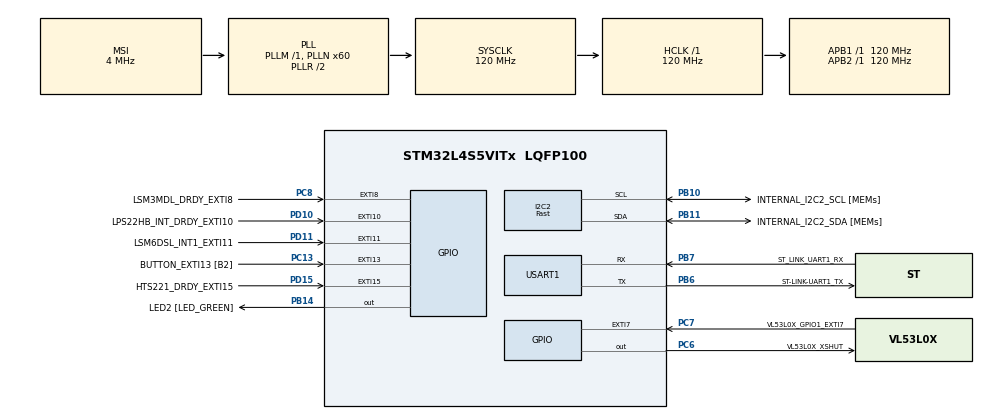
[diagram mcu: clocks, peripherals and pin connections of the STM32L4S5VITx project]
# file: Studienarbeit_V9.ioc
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Dma.I2C2_RX.0.Direction=DMA_PERIPH_TO_MEMORY
Dma.I2C2_RX.0.EventEnable=DISABLE
Dma.I2C2_RX.0.Instance=DMA1_Channel1
Dma.I2C2_RX.0.MemDataAlignment=DMA_MDATAALIGN_BYTE
Dma.I2C2_RX.0.MemInc=DMA_MINC_ENABLE
Dma.I2C2_RX.0.Mode=DMA_NORMAL
Dma.I2C2_RX.0.PeriphDataAlignment=DMA_PDATAALIGN_BYTE
Dma.I2C2_RX.0.PeriphInc=DMA_PINC_DISABLE
Dma.I2C2_RX.0.Polarity=HAL_DMAMUX_REQUEST_GEN_RISING
Dma.I2C2_RX.0.Priority=DMA_PRIORITY_LOW
Dma.I2C2_RX.0.RequestNumber=1
Dma.I2C2_RX.0.SignalID=NONE
Dma.I2C2_RX.0.SyncEnable=DISABLE
Dma.I2C2_RX.0.SyncPolarity=HAL_DMAMUX_SYNC_NO_EVENT
Dma.I2C2_RX.0.SyncRequestNumber=1
Dma.I2C2_RX.0.SyncSignalID=NONE
Dma.I2C2_TX.1.Direction=DMA_MEMORY_TO_PERIPH
Dma.I2C2_TX.1.EventEnable=DISABLE
Dma.I2C2_TX.1.Instance=DMA1_Channel2
Dma.I2C2_TX.1.MemDataAlignment=DMA_MDATAALIGN_BYTE
Dma.I2C2_TX.1.MemInc=DMA_MINC_ENABLE
Dma.I2C2_TX.1.Mode=DMA_NORMAL
Dma.I2C2_TX.1.PeriphDataAlignment=DMA_PDATAALIGN_BYTE
Dma.I2C2_TX.1.PeriphInc=DMA_PINC_DISABLE
Dma.I2C2_TX.1.Polarity=HAL_DMAMUX_REQUEST_GEN_RISING
Dma.I2C2_TX.1.Priority=DMA_PRIORITY_LOW
Dma.I2C2_TX.1.RequestNumber=1
Dma.I2C2_TX.1.SignalID=NONE
Dma.I2C2_TX.1.SyncEnable=DISABLE
Dma.I2C2_TX.1.SyncPolarity=HAL_DMAMUX_SYNC_NO_EVENT
Dma.I2C2_TX.1.SyncRequestNumber=1
Dma.I2C2_TX.1.SyncSignalID=NONE
Dma.Request0=I2C2_RX
Dma.Request1=I2C2_TX
Dma.Request2=USART1_RX
Dma.Request3=USART1_TX
Dma.USART1_RX.2.Direction=DMA_PERIPH_TO_MEMORY
Dma.USART1_RX.2.EventEnable=DISABLE
Dma.USART1_RX.2.Instance=DMA1_Channel3
Dma.USART1_RX.2.MemDataAlignment=DMA_MDATAALIGN_BYTE
Dma.USART1_RX.2.MemInc=DMA_MINC_ENABLE
Dma.USART1_RX.2.Mode=DMA_NORMAL
Dma.USART1_RX.2.PeriphDataAlignment=DMA_PDATAALIGN_BYTE
Dma.USART1_RX.2.PeriphInc=DMA_PINC_DISABLE
Dma.USART1_RX.2.Polarity=HAL_DMAMUX_REQUEST_GEN_RISING
Dma.USART1_RX.2.Priority=DMA_PRIORITY_LOW
Dma.USART1_RX.2.RequestNumber=1
Dma.USART1_RX.2.SignalID=NONE
Dma.USART1_RX.2.SyncEnable=DISABLE
Dma.USART1_RX.2.SyncPolarity=HAL_DMAMUX_SYNC_NO_EVENT
Dma.USART1_RX.2.SyncRequestNumber=1
Dma.USART1_RX.2.SyncSignalID=NONE
Dma.USART1_TX.3.Direction=DMA_MEMORY_TO_PERIPH
Dma.USART1_TX.3.EventEnable=DISABLE
Dma.USART1_TX.3.Instance=DMA1_Channel4
Dma.USART1_TX.3.MemDataAlignment=DMA_MDATAALIGN_BYTE
Dma.USART1_TX.3.MemInc=DMA_MINC_ENABLE
Dma.USART1_TX.3.Mode=DMA_NORMAL
Dma.USART1_TX.3.PeriphDataAlignment=DMA_PDATAALIGN_BYTE
Dma.USART1_TX.3.PeriphInc=DMA_PINC_DISABLE
Dma.USART1_TX.3.Polarity=HAL_DMAMUX_REQUEST_GEN_RISING
Dma.USART1_TX.3.Priority=DMA_PRIORITY_LOW
Dma.USART1_TX.3.RequestNumber=1
Dma.USART1_TX.3.SignalID=NONE
Dma.USART1_TX.3.SyncEnable=DISABLE
Dma.USART1_TX.3.SyncPolarity=HAL_DMAMUX_SYNC_NO_EVENT
Dma.USART1_TX.3.SyncRequestNumber=1
Dma.USART1_TX.3.SyncSignalID=NONE
FREERTOS.BinarySemaphores01=I2C2available,Dynamic,NULL,Available
FREERTOS.Tasks01=defaultTask,24,128,StartDefaultTask,Default,NULL,Dynamic,NULL,NULL;IMUTask,33,256,IMU_Task,Default,NULL,Dynamic,NULL,NULL;MagnetoTask,26,256,Magneto_Task,Default,NULL,Dynamic,NULL,NULL;ToFTask,25,256,ToF_Task,Default,NULL,Dynamic,NULL,NULL;BaroTask,17,256,Baro_Task,Default,NULL,Dynamic,NULL,NULL;HumidityTask,17,256,Humidity_Task,Default,NULL,Dynamic,NULL,NULL;InitTask,34,512,Init_Task,Default,NULL,Dynamic,NULL,NULL;DataTransTask,15,128,Data_Transmit_Task,Default,NULL,Dynamic,NULL,NULL
FREERTOS.configENABLE_FPU=1
FREERTOS.configGENERATE_RUN_TIME_STATS=1
FREERTOS.configTOTAL_HEAP_SIZE=8000
FREERTOS.configUSE_NEWLIB_REENTRANT=1
FREERTOS.configUSE_STATS_FORMATTING_FUNCTIONS=1
I2C2.I2C_Speed_Mode=I2C_Fast
I2C2.Timing=0x10B21F61
Mcu.Family=STM32L4
Mcu.Name=STM32L4S5VITx
Mcu.Package=LQFP100
NVIC.DMA1_Channel1_IRQn=true\:7\:0\:true\:false\:true\:true\:false\:true\:true
NVIC.DMA1_Channel2_IRQn=true\:8\:0\:true\:false\:true\:true\:false\:true\:true
NVIC.DMA1_Channel3_IRQn=true\:5\:0\:false\:false\:true\:true\:false\:true\:true
NVIC.DMA1_Channel4_IRQn=true\:5\:0\:false\:false\:true\:true\:false\:true\:true
NVIC.EXTI15_10_IRQn=true\:10\:0\:true\:false\:true\:true\:true\:true\:false
NVIC.EXTI9_5_IRQn=true\:10\:0\:true\:false\:true\:true\:true\:true\:false
NVIC.I2C2_EV_IRQn=true\:6\:0\:true\:false\:true\:true\:true\:true\:true
NVIC.PriorityGroup=NVIC_PRIORITYGROUP_4
NVIC.TIM1_TRG_COM_TIM17_IRQn=true\:15\:0\:false\:false\:true\:false\:false\:true\:true
NVIC.TimeBase=TIM1_TRG_COM_TIM17_IRQn
NVIC.TimeBaseIP=TIM17
PA13\ (JTMS/SWDIO).GPIO_Label=SYS_JTMS_SWDIO
PA13\ (JTMS/SWDIO).Mode=Serial_Wire
PA13\ (JTMS/SWDIO).Signal=SYS_JTMS-SWDIO
PA14\ (JTCK/SWCLK).GPIO_Label=SYS_JTCK_SWCLK
PA14\ (JTCK/SWCLK).Mode=Serial_Wire
PA14\ (JTCK/SWCLK).Signal=SYS_JTCK-SWCLK
PB10.GPIO_Label=INTERNAL_I2C2_SCL [MEMs]
PB10.GPIO_Mode=GPIO_MODE_AF_OD
PB10.GPIO_Pu=GPIO_PULLUP
PB10.GPIO_Speed=GPIO_SPEED_FREQ_VERY_HIGH
PB10.Mode=I2C
PB10.Signal=I2C2_SCL
PB11.GPIO_Label=INTERNAL_I2C2_SDA [MEMs]
PB11.GPIO_Mode=GPIO_MODE_AF_OD
PB11.GPIO_Pu=GPIO_PULLUP
PB11.GPIO_Speed=GPIO_SPEED_FREQ_VERY_HIGH
PB11.Mode=I2C
PB11.Signal=I2C2_SDA
PB14.GPIO_Label=LED2 [LED_GREEN]
PB14.GPIO_ModeDefaultOutputPP=GPIO_MODE_OUTPUT_PP
PB14.GPIO_PuPd=GPIO_NOPULL
PB14.GPIO_Speed=GPIO_SPEED_FREQ_LOW
PB14.PinState=GPIO_PIN_RESET
PB14.Signal=GPIO_Output
PB3\ (JTDO/TRACESWO).GPIO_Label=SYS_JTD0_SWO
PB3\ (JTDO/TRACESWO).Signal=SYS_JTDO-SWO
PB6.GPIO_FM6=__NULL
PB6.GPIO_Label=ST-LINK-UART1_TX
PB6.GPIO_ModeDefaultPP=GPIO_MODE_AF_PP
PB6.GPIO_PuPd=GPIO_NOPULL
PB6.GPIO_Speed=GPIO_SPEED_FREQ_VERY_HIGH
PB6.Mode=Asynchronous
PB6.Signal=USART1_TX
PB7.GPIO_FM7=__NULL
PB7.GPIO_Label=ST_LINK_UART1_RX
PB7.GPIO_ModeDefaultPP=GPIO_MODE_AF_PP
PB7.GPIO_PuPd=GPIO_NOPULL
PB7.GPIO_Speed=GPIO_SPEED_FREQ_VERY_HIGH
PB7.Mode=Asynchronous
PB7.Signal=USART1_RX
PC13.GPIO_Label=BUTTON_EXTI13 [B2]
PC13.GPIO_ModeDefaultEXTI=GPIO_MODE_IT_RISING
PC13.GPIO_PuPd=GPIO_NOPULL
PC13.Signal=GPXTI13
PC14-OSC32_IN\ (PC14).Mode=LSE-External-Oscillator
PC14-OSC32_IN\ (PC14).Signal=RCC_OSC32_IN
PC15-OSC32_OUT\ (PC15).Mode=LSE-External-Oscillator
PC15-OSC32_OUT\ (PC15).Signal=RCC_OSC32_OUT
PC6.GPIO_Label=VL53L0X_XSHUT
PC6.GPIO_ModeDefaultOutputPP=GPIO_MODE_OUTPUT_PP
PC6.GPIO_PuPd=GPIO_NOPULL
PC6.GPIO_Speed=GPIO_SPEED_FREQ_LOW
PC6.PinState=GPIO_PIN_RESET
PC6.Signal=GPIO_Output
PC7.GPIO_Label=VL53L0X_GPIO1_EXTI7
PC7.GPIO_ModeDefaultEXTI=GPIO_MODE_IT_FALLING
PC7.GPIO_PuPd=GPIO_NOPULL
PC7.Signal=GPXTI7
PC8.GPIO_Label=LSM3MDL_DRDY_EXTI8
PC8.GPIO_ModeDefaultEXTI=GPIO_MODE_IT_RISING
PC8.GPIO_PuPd=GPIO_NOPULL
PC8.Signal=GPXTI8
PD10.GPIO_Label=LPS22HB_INT_DRDY_EXTI10
PD10.GPIO_ModeDefaultEXTI=GPIO_MODE_IT_RISING
PD10.GPIO_PuPd=GPIO_NOPULL
PD10.Signal=GPXTI10
PD11.GPIO_Label=LSM6DSL_INT1_EXTI11
PD11.GPIO_ModeDefaultEXTI=GPIO_MODE_IT_RISING
PD11.GPIO_PuPd=GPIO_NOPULL
PD11.Signal=GPXTI11
PD15.GPIO_Label=HTS221_DRDY_EXTI15
PD15.GPIO_ModeDefaultEXTI=GPIO_MODE_IT_RISING
PD15.GPIO_PuPd=GPIO_NOPULL
PD15.Signal=GPXTI15
PH0-OSC_IN\ (PH0).Mode=HSE-External-Oscillator
PH0-OSC_IN\ (PH0).Signal=RCC_OSC_IN
PH1-OSC_OUT\ (PH1).Mode=HSE-External-Oscillator
PH1-OSC_OUT\ (PH1).Signal=RCC_OSC_OUT
ProjectManager.HeapSize=0x200
ProjectManager.StackSize=0x400
ProjectManager.TargetToolchain=STM32CubeIDE
RCC.ADCFreq_Value=48000000
RCC.AHBFreq_Value=120000000
RCC.APB1Freq_Value=120000000
RCC.APB1TimFreq_Value=120000000
RCC.APB2Freq_Value=120000000
RCC.APB2TimFreq_Value=120000000
RCC.CortexFreq_Value=120000000
RCC.HCLKFreq_Value=120000000
RCC.HSE_VALUE=8000000
RCC.HSI48_VALUE=48000000
RCC.HSI_VALUE=16000000
RCC.MSI_VALUE=4000000
RCC.PLLN=60
RCC.PLLSAI1N=24
RCC.SYSCLKFreq_VALUE=120000000
RCC.SYSCLKSource=RCC_SYSCLKSOURCE_PLLCLK
RCC.USBFreq_Value=48000000
RCC.VCOOutputFreq_Value=240000000
USART1.VirtualMode-Asynchronous=VM_ASYNC
VP_FREERTOS_VS_CMSIS_V2.Mode=CMSIS_V2
VP_SYS_VS_tim17.Mode=TIM17
board=B-L4S5I-IOT01A

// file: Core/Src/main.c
/* USER CODE BEGIN Header */
/**
 ******************************************************************************
 * @file           : main.c
 * @brief          : Main program body
 ******************************************************************************
 * @attention
 *
 * Copyright (c) 2023 STMicroelectronics.
 * All rights reserved.
 *
 * This software is licensed under terms that can be found in the LICENSE file
 * in the root directory of this software component.
 * If no LICENSE file comes with this software, it is provided AS-IS.
 *
 ******************************************************************************
 */
/* USER CODE END Header */
#include "main.h"
#include "cmsis_os.h"

/* USER CODE BEGIN Includes */
#include <stdbool.h>
#include <stdio.h>
#include <string.h>

#include "../Sensors/AccelerationSensor/lsm6dsl.h"
#include "../Sensors/AirPressureSensor/lps22hb.h"
#include "../Sensors/HumiditySensor/hts221.h"
#include "../Sensors/MagnetometerSensor/lis3mdl.h"
#include "../Sensors/ToFSensor/vl53l0x.h"
#include "../Filter/filter.h"
/* USER CODE END Includes */

I2C_HandleTypeDef hi2c2;
DMA_HandleTypeDef hdma_i2c2_rx;
DMA_HandleTypeDef hdma_i2c2_tx;

UART_HandleTypeDef huart1;
DMA_HandleTypeDef hdma_usart1_rx;
DMA_HandleTypeDef hdma_usart1_tx;

/* Definitions for defaultTask */
osThreadId_t defaultTaskHandle;
const osThreadAttr_t defaultTask_attributes = {
  .name = "defaultTask",
  .stack_size = 128 * 4,
  .priority = (osPriority_t) osPriorityNormal,
};
/* Definitions for IMUTask */
osThreadId_t IMUTaskHandle;
const osThreadAttr_t IMUTask_attributes = {
  .name = "IMUTask",
  .stack_size = 256 * 4,
  .priority = (osPriority_t) osPriorityAboveNormal1,
};
/* Definitions for MagnetoTask */
osThreadId_t MagnetoTaskHandle;
const osThreadAttr_t MagnetoTask_attributes = {
  .name = "MagnetoTask",
  .stack_size = 256 * 4,
  .priority = (osPriority_t) osPriorityNormal2,
};
/* Definitions for ToFTask */
osThreadId_t ToFTaskHandle;
const osThreadAttr_t ToFTask_attributes = {
  .name = "ToFTask",
  .stack_size = 256 * 4,
  .priority = (osPriority_t) osPriorityNormal1,
};
/* Definitions for BaroTask */
osThreadId_t BaroTaskHandle;
const osThreadAttr_t BaroTask_attributes = {
  .name = "BaroTask",
  .stack_size = 256 * 4,
  .priority = (osPriority_t) osPriorityBelowNormal1,
};
/* Definitions for HumidityTask */
osThreadId_t HumidityTaskHandle;
const osThreadAttr_t HumidityTask_attributes = {
  .name = "HumidityTask",
  .stack_size = 256 * 4,
  .priority = (osPriority_t) osPriorityBelowNormal1,
};
/* Definitions for InitTask */
osThreadId_t InitTaskHandle;
const osThreadAttr_t InitTask_attributes = {
  .name = "InitTask",
  .stack_size = 512 * 4,
  .priority = (osPriority_t) osPriorityAboveNormal2,
};
/* Definitions for DataTransTask */
osThreadId_t DataTransTaskHandle;
const osThreadAttr_t DataTransTask_attributes = {
  .name = "DataTransTask",
  .stack_size = 128 * 4,
  .priority = (osPriority_t) osPriorityLow7,
};
/* Definitions for I2C2available */
osSemaphoreId_t I2C2availableHandle;
const osSemaphoreAttr_t I2C2available_attributes = {
  .name = "I2C2available"
};

void SystemClock_Config(void);
static void MX_GPIO_Init(void);
static void MX_DMA_Init(void);
static void MX_I2C2_Init(void);
static void MX_USART1_UART_Init(void);
void StartDefaultTask(void *argument);
void IMU_Task(void *argument);
void Magneto_Task(void *argument);
void ToF_Task(void *argument);
void Baro_Task(void *argument);
void Humidity_Task(void *argument);
void Init_Task(void *argument);
void Data_Transmit_Task(void *argument);

int main(void)
{

  /* MCU Configuration--------------------------------------------------------*/

  /* Reset of all peripherals, Initializes the Flash interface and the Systick. */
  HAL_Init();

  /* Configure the system clock */
  SystemClock_Config();

  /* Initialize all configured peripherals */
  MX_GPIO_Init();
  MX_DMA_Init();
  MX_I2C2_Init();
  MX_USART1_UART_Init();

  /* Init scheduler */
  osKernelInitialize();

  /* Create the semaphores(s) */
  /* creation of I2C2available */
  I2C2availableHandle = osSemaphoreNew(1, 1, &I2C2available_attributes);

  /* Create the thread(s) */
  /* creation of defaultTask */
  defaultTaskHandle = osThreadNew(StartDefaultTask, NULL, &defaultTask_attributes);

  /* creation of IMUTask */
  IMUTaskHandle = osThreadNew(IMU_Task, NULL, &IMUTask_attributes);

  /* creation of MagnetoTask */
  MagnetoTaskHandle = osThreadNew(Magneto_Task, NULL, &MagnetoTask_attributes);

  /* creation of ToFTask */
  ToFTaskHandle = osThreadNew(ToF_Task, NULL, &ToFTask_attributes);

  /* creation of BaroTask */
  BaroTaskHandle = osThreadNew(Baro_Task, NULL, &BaroTask_attributes);

  /* creation of HumidityTask */
  HumidityTaskHandle = osThreadNew(Humidity_Task, NULL, &HumidityTask_attributes);

  /* creation of InitTask */
  InitTaskHandle = osThreadNew(Init_Task, NULL, &InitTask_attributes);

  /* creation of DataTransTask */
  DataTransTaskHandle = osThreadNew(Data_Transmit_Task, NULL, &DataTransTask_attributes);

  /* USER CODE BEGIN RTOS_THREADS */
  /* terminate the default Task because it just exists because of the STM23CubeIDE configuration set it mandatory - that is not needed because
   * a idle task is created by FreeRTOS anyway   */
  osThreadTerminate(defaultTaskHandle);
  /* USER CODE END RTOS_THREADS */

  /* USER CODE BEGIN RTOS_EVENTS */
  SEGGER_SYSVIEW_Conf();
  SEGGER_SYSVIEW_Start();
  SEGGER_SYSVIEW_PrintfHost("START");

  /* initialisation done -> clear interrupts in case they already are active and enable them */
  HAL_NVIC_ClearPendingIRQ(EXTI15_10_IRQn);
  HAL_NVIC_ClearPendingIRQ(EXTI9_5_IRQn);
  HAL_NVIC_EnableIRQ(EXTI9_5_IRQn);
  HAL_NVIC_EnableIRQ(EXTI15_10_IRQn);
  /* USER CODE END RTOS_EVENTS */

  /* Start scheduler */
  osKernelStart();

  /* We should never get here as control is now taken by the scheduler */

  /* Infinite loop */
	  while (1)
	  {

	  }
}

void SystemClock_Config(void)
{
  RCC_OscInitTypeDef RCC_OscInitStruct = {0};
  RCC_ClkInitTypeDef RCC_ClkInitStruct = {0};

  /** Configure the main internal regulator output voltage
  */
  if (HAL_PWREx_ControlVoltageScaling(PWR_REGULATOR_VOLTAGE_SCALE1_BOOST) != HAL_OK)
  {
    Error_Handler();
  }

  /** Initializes the RCC Oscillators according to the specified parameters
  * in the RCC_OscInitTypeDef structure.
  */
  RCC_OscInitStruct.OscillatorType = RCC_OSCILLATORTYPE_MSI;
  RCC_OscInitStruct.MSIState = RCC_MSI_ON;
  RCC_OscInitStruct.MSICalibrationValue = 0;
  RCC_OscInitStruct.MSIClockRange = RCC_MSIRANGE_6;
  RCC_OscInitStruct.PLL.PLLState = RCC_PLL_ON;
  RCC_OscInitStruct.PLL.PLLSource = RCC_PLLSOURCE_MSI;
  RCC_OscInitStruct.PLL.PLLM = 1;
  RCC_OscInitStruct.PLL.PLLN = 60;
  RCC_OscInitStruct.PLL.PLLP = RCC_PLLP_DIV2;
  RCC_OscInitStruct.PLL.PLLQ = RCC_PLLQ_DIV2;
  RCC_OscInitStruct.PLL.PLLR = RCC_PLLR_DIV2;
  if (HAL_RCC_OscConfig(&RCC_OscInitStruct) != HAL_OK)
  {
    Error_Handler();
  }

  /** Initializes the CPU, AHB and APB buses clocks
  */
  RCC_ClkInitStruct.ClockType = RCC_CLOCKTYPE_HCLK|RCC_CLOCKTYPE_SYSCLK
                              |RCC_CLOCKTYPE_PCLK1|RCC_CLOCKTYPE_PCLK2;
  RCC_ClkInitStruct.SYSCLKSource = RCC_SYSCLKSOURCE_PLLCLK;
  RCC_ClkInitStruct.AHBCLKDivider = RCC_SYSCLK_DIV1;
  RCC_ClkInitStruct.APB1CLKDivider = RCC_HCLK_DIV1;
  RCC_ClkInitStruct.APB2CLKDivider = RCC_HCLK_DIV1;

  if (HAL_RCC_ClockConfig(&RCC_ClkInitStruct, FLASH_LATENCY_5) != HAL_OK)
  {
    Error_Handler();
  }
}

static void MX_I2C2_Init(void)
{

  hi2c2.Instance = I2C2;
  hi2c2.Init.Timing = 0x10B21F61;
  hi2c2.Init.OwnAddress1 = 0;
  hi2c2.Init.AddressingMode = I2C_ADDRESSINGMODE_7BIT;
  hi2c2.Init.DualAddressMode = I2C_DUALADDRESS_DISABLE;
  hi2c2.Init.OwnAddress2 = 0;
  hi2c2.Init.OwnAddress2Masks = I2C_OA2_NOMASK;
  hi2c2.Init.GeneralCallMode = I2C_GENERALCALL_DISABLE;
  hi2c2.Init.NoStretchMode = I2C_NOSTRETCH_DISABLE;
  if (HAL_I2C_Init(&hi2c2) != HAL_OK)
  {
    Error_Handler();
  }

  /** Configure Analogue filter
  */
  if (HAL_I2CEx_ConfigAnalogFilter(&hi2c2, I2C_ANALOGFILTER_ENABLE) != HAL_OK)
  {
    Error_Handler();
  }

  /** Configure Digital filter
  */
  if (HAL_I2CEx_ConfigDigitalFilter(&hi2c2, 0) != HAL_OK)
  {
    Error_Handler();
  }

}

static void MX_USART1_UART_Init(void)
{

  huart1.Instance = USART1;
  huart1.Init.BaudRate = 115200;
  huart1.Init.WordLength = UART_WORDLENGTH_8B;
  huart1.Init.StopBits = UART_STOPBITS_1;
  huart1.Init.Parity = UART_PARITY_NONE;
  huart1.Init.Mode = UART_MODE_TX_RX;
  huart1.Init.HwFlowCtl = UART_HWCONTROL_NONE;
  huart1.Init.OverSampling = UART_OVERSAMPLING_16;
  huart1.Init.OneBitSampling = UART_ONE_BIT_SAMPLE_DISABLE;
  huart1.Init.ClockPrescaler = UART_PRESCALER_DIV1;
  huart1.AdvancedInit.AdvFeatureInit = UART_ADVFEATURE_NO_INIT;
  if (HAL_UART_Init(&huart1) != HAL_OK)
  {
    Error_Handler();
  }
  if (HAL_UARTEx_SetTxFifoThreshold(&huart1, UART_TXFIFO_THRESHOLD_1_8) != HAL_OK)
  {
    Error_Handler();
  }
  if (HAL_UARTEx_SetRxFifoThreshold(&huart1, UART_RXFIFO_THRESHOLD_1_8) != HAL_OK)
  {
    Error_Handler();
  }
  if (HAL_UARTEx_DisableFifoMode(&huart1) != HAL_OK)
  {
    Error_Handler();
  }

}

static void MX_DMA_Init(void)
{

  /* DMA controller clock enable */
  __HAL_RCC_DMAMUX1_CLK_ENABLE();
  __HAL_RCC_DMA1_CLK_ENABLE();

  /* DMA interrupt init */
  /* DMA1_Channel1_IRQn interrupt configuration */
  HAL_NVIC_SetPriority(DMA1_Channel1_IRQn, 7, 0);
  HAL_NVIC_EnableIRQ(DMA1_Channel1_IRQn);
  /* DMA1_Channel2_IRQn interrupt configuration */
  HAL_NVIC_SetPriority(DMA1_Channel2_IRQn, 8, 0);
  HAL_NVIC_EnableIRQ(DMA1_Channel2_IRQn);
  /* DMA1_Channel3_IRQn interrupt configuration */
  HAL_NVIC_SetPriority(DMA1_Channel3_IRQn, 5, 0);
  HAL_NVIC_EnableIRQ(DMA1_Channel3_IRQn);
  /* DMA1_Channel4_IRQn interrupt configuration */
  HAL_NVIC_SetPriority(DMA1_Channel4_IRQn, 5, 0);
  HAL_NVIC_EnableIRQ(DMA1_Channel4_IRQn);

}

static void MX_GPIO_Init(void)
{
  GPIO_InitTypeDef GPIO_InitStruct = {0};

  /* GPIO Ports Clock Enable */
  __HAL_RCC_GPIOC_CLK_ENABLE();
  __HAL_RCC_GPIOH_CLK_ENABLE();
  __HAL_RCC_GPIOB_CLK_ENABLE();
  __HAL_RCC_GPIOD_CLK_ENABLE();
  __HAL_RCC_GPIOA_CLK_ENABLE();

  /*Configure GPIO pin Output Level */
  HAL_GPIO_WritePin(LED2_GPIO_Port, LED2_Pin, GPIO_PIN_RESET);

  /*Configure GPIO pin Output Level */
  HAL_GPIO_WritePin(VL53L0X_XSHUT_GPIO_Port, VL53L0X_XSHUT_Pin, GPIO_PIN_RESET);

  /*Configure GPIO pins : BUTTON_EXTI13_Pin LSM3MDL_DRDY_EXTI8_Pin */
  GPIO_InitStruct.Pin = BUTTON_EXTI13_Pin|LSM3MDL_DRDY_EXTI8_Pin;
  GPIO_InitStruct.Mode = GPIO_MODE_IT_RISING;
  GPIO_InitStruct.Pull = GPIO_NOPULL;
  HAL_GPIO_Init(GPIOC, &GPIO_InitStruct);

  /*Configure GPIO pin : LED2_Pin */
  GPIO_InitStruct.Pin = LED2_Pin;
  GPIO_InitStruct.Mode = GPIO_MODE_OUTPUT_PP;
  GPIO_InitStruct.Pull = GPIO_NOPULL;
  GPIO_InitStruct.Speed = GPIO_SPEED_FREQ_LOW;
  HAL_GPIO_Init(LED2_GPIO_Port, &GPIO_InitStruct);

  /*Configure GPIO pins : LPS22HB_INT_DRDY_EXTI10_Pin LSM6DSL_INT1_EXTI11_Pin HTS221_DRDY_EXTI15_Pin */
  GPIO_InitStruct.Pin = LPS22HB_INT_DRDY_EXTI10_Pin|LSM6DSL_INT1_EXTI11_Pin|HTS221_DRDY_EXTI15_Pin;
  GPIO_InitStruct.Mode = GPIO_MODE_IT_RISING;
  GPIO_InitStruct.Pull = GPIO_NOPULL;
  HAL_GPIO_Init(GPIOD, &GPIO_InitStruct);

  /*Configure GPIO pin : VL53L0X_XSHUT_Pin */
  GPIO_InitStruct.Pin = VL53L0X_XSHUT_Pin;
  GPIO_InitStruct.Mode = GPIO_MODE_OUTPUT_PP;
  GPIO_InitStruct.Pull = GPIO_NOPULL;
  GPIO_InitStruct.Speed = GPIO_SPEED_FREQ_LOW;
  HAL_GPIO_Init(VL53L0X_XSHUT_GPIO_Port, &GPIO_InitStruct);

  /*Configure GPIO pin : VL53L0X_GPIO1_EXTI7_Pin */
  GPIO_InitStruct.Pin = VL53L0X_GPIO1_EXTI7_Pin;
  GPIO_InitStruct.Mode = GPIO_MODE_IT_FALLING;
  GPIO_InitStruct.Pull = GPIO_NOPULL;
  HAL_GPIO_Init(VL53L0X_GPIO1_EXTI7_GPIO_Port, &GPIO_InitStruct);

  /* EXTI interrupt init*/
  HAL_NVIC_SetPriority(EXTI9_5_IRQn, 10, 0);
  HAL_NVIC_SetPriority(EXTI15_10_IRQn, 10, 0);

}

void StartDefaultTask(void *argument)
{
  for(;;)
  {
    osDelay(1);
  }
}

void IMU_Task(void *argument)
{
  for(;;)
  {
    osDelay(1);
  }
}

void Magneto_Task(void *argument)
{
  for(;;)
  {
    osDelay(1);
  }
}

void ToF_Task(void *argument)
{
  /* USER CODE BEGIN ToF_Task */
  HAL_StatusTypeDef HAL_status = HAL_OK;
  /* Infinite loop */
  for(;;)
  {
	  osThreadFlagsWait(THREAD_ACTIVATE_FLAG, osFlagsWaitAll, osWaitForever);
	  osSemaphoreAcquire(I2C2availableHandle, osWaitForever);
	  HAL_status = VL53L0X_data_ready();
  }
  /* USER CODE END ToF_Task */
}

void Baro_Task(void *argument)
{
  /* USER CODE BEGIN Baro_Task */
  HAL_StatusTypeDef HAL_status = HAL_OK;
  /* Infinite loop */
  for(;;)
  {
	  osThreadFlagsWait(THREAD_ACTIVATE_FLAG, osFlagsWaitAll, osWaitForever);
	  osSemaphoreAcquire(I2C2availableHandle, osWaitForever);
	  HAL_status = LPS22HB_data_ready();
  }
  /* USER CODE END Baro_Task */
}

void Humidity_Task(void *argument)
{
  /* USER CODE BEGIN Humidity_Task */
  HAL_StatusTypeDef HAL_status = HAL_OK;
  /* Infinite loop */
  for(;;)
  {
	  osThreadFlagsWait(THREAD_ACTIVATE_FLAG, osFlagsWaitAll, osWaitForever);
	  osSemaphoreAcquire(I2C2availableHandle, osWaitForever);
	  HAL_status = HTS221_data_ready();
  }
  /* USER CODE END Humidity_Task */
}

void Init_Task(void *argument)
{
    /* USER CODE BEGIN Init_Task */
    /* Infinite loop */
	/* Initialize all configured peripherals */
	MX_GPIO_Init();
	MX_DMA_Init();
	MX_I2C2_Init();
	MX_USART1_UART_Init();

	vl53l0x_initialize(); /* ToF */
	HTS221_initialize();  /* Humidity */
	LPS22HB_initialize(); /* Barometer */
	LSM6DSL_initialize(); /* IMU */
	LIS3MDL_initialize(); /* Magnetometer */

	Filter_Init();

	/* initialisation done --> terminate task */
	  osThreadTerminate(InitTaskHandle);
  /* USER CODE END Init_Task */
}

void Data_Transmit_Task(void *argument)
{
  /* USER CODE BEGIN Data_Transmit_Task */
  /* Infinite loop */
	for(;;)
	  {
		  /* wait until both sensors provide new data */
		  osThreadFlagsWait(IMU_SENSOR_THREAD_ACTIVATE_FLAG | MAG_SENSOR_THREAD_ACTIVATE_FLAG , osFlagsWaitAll, osWaitForever);
		  SEGGER_SYSVIEW_PrintfHost("DataTransmit");
		  osSemaphoreAcquire(UART1availableHandle, osWaitForever);

		  memcpy(&transmit_data.acc_x, &lsm6dsl_values.acc_x, 6*sizeof(float));
		  memcpy(&transmit_data.mag_x, &lis3mdl_values.x, 3*sizeof(float));
		  HAL_UART_Transmit_DMA(&huart1, (const uint8_t *)&transmit_data, sizeof(transmit_data));
		  /* the HAL function above automatically enables the half transmit interrupt that is not needed here */
		  __HAL_DMA_DISABLE_IT(huart1.hdmatx, DMA_IT_HT );
	  }
  /* USER CODE END Data_Transmit_Task */
}

void HAL_TIM_PeriodElapsedCallback(TIM_HandleTypeDef *htim)
{
  if (htim->Instance == TIM17)
  {
    HAL_IncTick();
  }
}

void Error_Handler(void)
{
  /* USER CODE BEGIN Error_Handler_Debug */
  /* User can add his own implementation to report the HAL error return state
   */
  __disable_irq();
  while (1) {
  }
  /* USER CODE END Error_Handler_Debug */
}
#ifdef USE_FULL_ASSERT
/**
  * @brief  Reports the name of the source file and the source line number
  *         where the assert_param error has occurred.
  * @param  file: pointer to the source file name
  * @param  line: assert_param error line source number
  * @retval None
  */
void assert_failed(uint8_t *file, uint32_t line)
{
  /* USER CODE BEGIN 6 */
  /* User can add his own implementation to report the file name and line
     number,
     ex: printf("Wrong parameters value: file %s on line %d\r\n", file, line)
   */
  /* USER CODE END 6 */
}
#endif /* USE_FULL_ASSERT */
